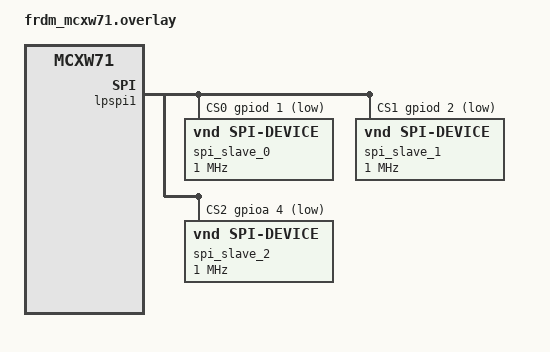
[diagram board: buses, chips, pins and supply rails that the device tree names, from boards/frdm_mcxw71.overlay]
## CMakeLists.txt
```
# Copyright 2026 Jan-Willem Smaal <usenet@gispen.org>
# SPDX-License-Identifier: Apache-2.0

cmake_minimum_required(VERSION 3.20.0)
find_package(Zephyr REQUIRED HINTS $ENV{ZEPHYR_BASE})
project(spi_master_w71)

target_sources(app PRIVATE src/main.c)
```

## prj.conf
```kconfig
# Copyright 2026 Jan-Willem Smaal <usenet@gispen.org>
# SPDX-License-Identifier: Apache-2.0

CONFIG_SPI=y
CONFIG_GPIO=y
# No high-level logging to avoid console flooding during debug
CONFIG_LOG=n
```

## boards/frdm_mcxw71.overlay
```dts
/*
 * Copyright 2026 Jan-Willem Smaal <usenet@gispen.org>
 * SPDX-License-Identifier: Apache-2.0
 */

#include <nxp/mcx/MCXW716CMFTA-pinctrl.h>

&pinctrl {
	/* Custom pinctrl that EXCLUDES PCS0 (PTB0) to avoid conflict */
	pinmux_lpspi1_master_custom: pinmux_lpspi1_master_custom {
		group0 {
			pinmux = <LPSPI1_SIN_PTB1>,
				 <LPSPI1_SCK_PTB2>,
				 <LPSPI1_SOUT_PTB3>;
			slew-rate = "fast";
			drive-strength = "high";
		};
	};
};

&lpspi1 {
	status = "okay";
	pinctrl-0 = <&pinmux_lpspi1_master_custom>;
	pinctrl-names = "default";
	
	/* Multi-slave CS setup */
	cs-gpios = <&gpiod 1 GPIO_ACTIVE_LOW>,  /* Slave 0 (A0/PTD1) */
	           <&gpiod 2 GPIO_ACTIVE_LOW>,  /* Slave 1 (A1/PTD2) */
	           <&gpioa 4 GPIO_ACTIVE_LOW>;  /* Slave 2 (A3/PTA4) */

	/delete-node/ flash@0;

	spi_slave_0: spi-slave@0 {
		compatible = "vnd,spi-device";
		reg = <0>;
		spi-max-frequency = <1000000>;
	};

	spi_slave_1: spi-slave@1 {
		compatible = "vnd,spi-device";
		reg = <1>;
		spi-max-frequency = <1000000>;
	};

	spi_slave_2: spi-slave@2 {
		compatible = "vnd,spi-device";
		reg = <2>;
		spi-max-frequency = <1000000>;
	};
};

&gpiod {
	status = "okay";
};

&gpioa {
	status = "okay";
};
```

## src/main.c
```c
/*
 * Copyright 2026 Jan-Willem Smaal <usenet@gispen.org>
 * @author Jan-Willem Smaal <usenet@gispen.org>
 * File: main.c
 * Created: May 5, 2026
 * SPDX-License-Identifier: Apache-2.0
 */

#include <zephyr/kernel.h>
#include <zephyr/drivers/spi.h>

/* Use Mode 3: CPOL=1, CPHA=1 */
#define SPI_OP (SPI_WORD_SET(8) | SPI_TRANSFER_MSB | SPI_MODE_CPOL | SPI_MODE_CPHA)

static const struct spi_dt_spec slave0 = SPI_DT_SPEC_GET(DT_NODELABEL(spi_slave_0), SPI_OP);
static const struct spi_dt_spec slave1 = SPI_DT_SPEC_GET(DT_NODELABEL(spi_slave_1), SPI_OP);
static const struct spi_dt_spec slave2 = SPI_DT_SPEC_GET(DT_NODELABEL(spi_slave_2), SPI_OP);

int main(void)
{
	uint8_t tx_data0[] = {0xDE, 0xAD, 0xBE, 0xEF};
	uint8_t tx_data1[] = {0xCA, 0xFE, 0xCA, 0xFE};
	uint8_t tx_data2[] = {0xBA, 0xAD, 0xF0, 0x0D};
	uint8_t rx_data[4];
	
	struct spi_buf rx_buf = {.buf = rx_data, .len = sizeof(rx_data)};
	struct spi_buf_set rx_bufs = {.buffers = &rx_buf, .count = 1};

	printk("\n*** SPI Master (MCXW71) Starting - Triple Slave Support ***\n");
	k_sleep(K_MSEC(5000)); /* Give Slaves time to start */

	if (!spi_is_ready_dt(&slave0) || !spi_is_ready_dt(&slave1) || !spi_is_ready_dt(&slave2)) {
		printk("Error: SPI devices not ready\n");
		return 0;
	}

	while (1) {
		/* Talk to Slave 0 (DEADBEEF) */
		struct spi_buf tx_buf0 = {.buf = tx_data0, .len = sizeof(tx_data0)};
		struct spi_buf_set tx_bufs0 = {.buffers = &tx_buf0, .count = 1};
		
		memset(rx_data, 0, sizeof(rx_data));
		printk("Master -> Slave 0 (A0): Sending DEADBEEF | ");
		if (spi_transceive_dt(&slave0, &tx_bufs0, &rx_bufs) == 0) {
			printk("RX: %02x %02x %02x %02x\n",
			       rx_data[0], rx_data[1], rx_data[2], rx_data[3]);
		} else {
			printk("FAILED\n");
		}

		k_sleep(K_MSEC(500));

		/* Talk to Slave 1 (CAFECAFE) */
		struct spi_buf tx_buf1 = {.buf = tx_data1, .len = sizeof(tx_data1)};
		struct spi_buf_set tx_bufs1 = {.buffers = &tx_buf1, .count = 1};
		
		memset(rx_data, 0, sizeof(rx_data));
		printk("Master -> Slave 1 (A1): Sending CAFECAFE | ");
		if (spi_transceive_dt(&slave1, &tx_bufs1, &rx_bufs) == 0) {
			printk("RX: %02x %02x %02x %02x\n",
			       rx_data[0], rx_data[1], rx_data[2], rx_data[3]);
		} else {
			printk("FAILED\n");
		}

		k_sleep(K_MSEC(500));

		/* Talk to Slave 2 (BAADF00D) */
		struct spi_buf tx_buf2 = {.buf = tx_data2, .len = sizeof(tx_data2)};
		struct spi_buf_set tx_bufs2 = {.buffers = &tx_buf2, .count = 1};
		
		memset(rx_data, 0, sizeof(rx_data));
		printk("Master -> Slave 2 (A3): Sending BAADF00D | ");
		if (spi_transceive_dt(&slave2, &tx_bufs2, &rx_bufs) == 0) {
			printk("RX: %02x %02x %02x %02x\n",
			       rx_data[0], rx_data[1], rx_data[2], rx_data[3]);
		} else {
			printk("FAILED\n");
		}

		k_sleep(K_MSEC(1000));
	}

	return 0;
}
```
